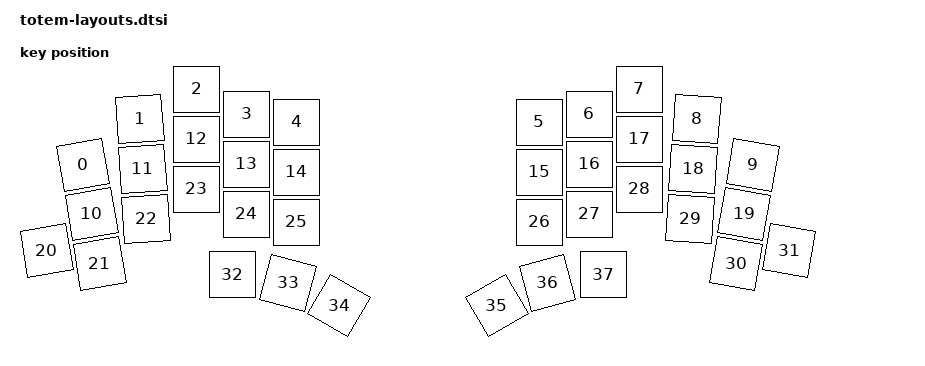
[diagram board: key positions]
#include <physical_layouts.dtsi>

/ {
    physical_layout0: physical_layout_0 {
        compatible = "zmk,physical-layout";
        display-name = "Default";

        transform = <&matrix_transform0>;

        keys  //                     w   h    x    y     rot    rx    ry
            = <&key_physical_attrs 100 100   73  152 (-1000)   123   202>
            , <&key_physical_attrs 100 100  186   60  (-400)   236   110>
            , <&key_physical_attrs 100 100  300    0       0     0     0>
            , <&key_physical_attrs 100 100  400   50       0     0     0>
            , <&key_physical_attrs 100 100  500   66       0     0     0>
            , <&key_physical_attrs 100 100  985   66       0     0     0>
            , <&key_physical_attrs 100 100 1085   50       0     0     0>
            , <&key_physical_attrs 100 100 1185    0       0     0     0>
            , <&key_physical_attrs 100 100 1300   60     400  1350   110>
            , <&key_physical_attrs 100 100 1412  152    1000  1462   202>
            , <&key_physical_attrs 100 100   90  250 (-1000)   140   300>
            , <&key_physical_attrs 100 100  192  160  (-400)   242   210>
            , <&key_physical_attrs 100 100  300  100       0     0     0>
            , <&key_physical_attrs 100 100  400  150       0     0     0>
            , <&key_physical_attrs 100 100  500  166       0     0     0>
            , <&key_physical_attrs 100 100  985  166       0     0     0>
            , <&key_physical_attrs 100 100 1085  150       0     0     0>
            , <&key_physical_attrs 100 100 1185  100       0     0     0>
            , <&key_physical_attrs 100 100 1293  160     400  1343   210>
            , <&key_physical_attrs 100 100 1395  250    1000  1445   300>
            , <&key_physical_attrs 100 100    0  323 (-1000)    50   373>
            , <&key_physical_attrs 100 100  106  349 (-1000)   156   399>
            , <&key_physical_attrs 100 100  199  260  (-400)   249   310>
            , <&key_physical_attrs 100 100  300  200       0     0     0>
            , <&key_physical_attrs 100 100  400  250       0     0     0>
            , <&key_physical_attrs 100 100  500  266       0     0     0>
            , <&key_physical_attrs 100 100  985  266       0     0     0>
            , <&key_physical_attrs 100 100 1085  250       0     0     0>
            , <&key_physical_attrs 100 100 1185  200       0     0     0>
            , <&key_physical_attrs 100 100 1287  260     400  1337   310>
            , <&key_physical_attrs 100 100 1379  349    1000  1429   399>
            , <&key_physical_attrs 100 100 1485  323    1000  1535   373>
            , <&key_physical_attrs 100 100  372  371       0     0     0>
            , <&key_physical_attrs 100 100  483  388    1500   533   438>
            , <&key_physical_attrs 100 100  585  433    3000   635   483>
            , <&key_physical_attrs 100 100  900  433 (-3000)   950   483>
            , <&key_physical_attrs 100 100 1002  388 (-1500)  1052   438>
            , <&key_physical_attrs 100 100 1113  371       0     0     0>
            ;
    };
};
